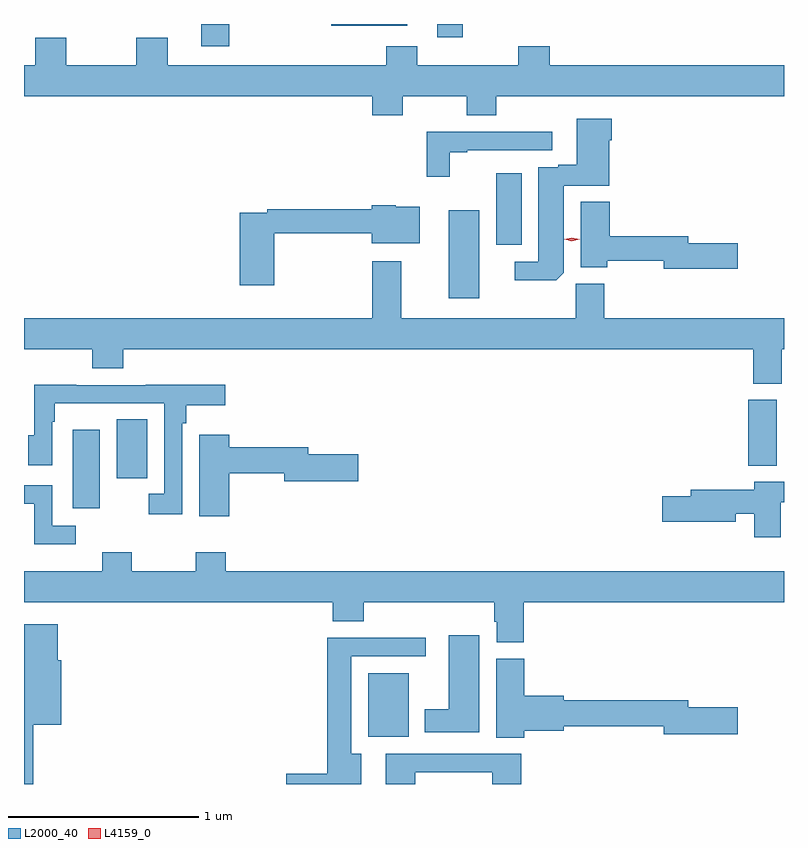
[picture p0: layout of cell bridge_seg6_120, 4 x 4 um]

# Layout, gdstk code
import gdstk
lib = gdstk.Library(unit=1e-6, precision=1e-09)
def R(c, l, rs):  # rectangles x0, y0, x1, y1
    for r in rs: c.add(gdstk.rectangle(r[:2], r[2:], *l))
def P(c, l, *ps):  # polygons
    for p in ps: c.add(gdstk.Polygon(p, *l))
L2000_40 = (2000, 40)
L4159_0 = (4159, 0)

bridge_seg6_120 = lib.new_cell('bridge_seg6_120')
R(bridge_seg6_120, L2000_40, [(395.78,942.632,395.992,942.967), (394.223,943.836,394.366,944.248), (394.454,943.992,394.615,944.303), (397.778,944.059,397.93,944.406), (396.203,944.94,396.364,945.403), (396.452,945.222,396.586,945.598), (394.901,946.266,395.046,946.384), (396.143,946.314,396.277,946.384), (395.585,946.374,395.985,946.384)])
P(bridge_seg6_120, L2000_40, [(395.961,946.004),(396.298,946.004),(396.298,945.905),(396.453,945.905),(396.453,946.004),(397.967,946.004),(397.967,946.168),(396.734,946.168),(396.734,946.267),(396.569,946.267),(396.569,946.168),(396.038,946.168),(396.038,946.267),(395.873,946.267),(395.873,946.168),(394.723,946.168),(394.723,946.312),(394.559,946.312),(394.559,946.168),(394.189,946.168),(394.189,946.312),(394.025,946.312),(394.025,946.168),(393.967,946.168),(393.967,946.004),(395.801,946.004),(395.801,945.905),(395.961,945.905)],
  [(396.808,945.076),(396.808,945.534),(397.048,945.534),(397.048,945.773),(397.061,945.773),(397.061,945.886),(396.875,945.886),(396.875,945.643),(396.779,945.643),(396.779,945.63),(396.674,945.63),(396.674,945.132),(396.549,945.132),(396.549,945.035),(396.767,945.035)],
  [(396.207,945.708),(396.301,945.708),(396.301,945.72),(396.748,945.72),(396.748,945.816),(396.088,945.816),(396.088,945.579),(396.207,945.579)],
  [(397.723,945.23),(397.462,945.23),(397.462,945.266),(397.049,945.266),(397.049,945.449),(396.896,945.449),(396.896,945.103),(397.036,945.103),(397.036,945.138),(397.334,945.138),(397.334,945.095),(397.723,945.095)],
  [(395.285,945.282),(395.798,945.282),(395.798,945.23),(396.049,945.23),(396.049,945.421),(395.924,945.421),(395.924,945.429),(395.798,945.429),(395.798,945.41),(395.248,945.41),(395.248,945.39),(395.102,945.39),(395.102,945.009),(395.285,945.009)],
  [(397.955,944.672),(397.967,944.672),(397.967,944.836),(397.022,944.836),(397.022,945.018),(396.871,945.018),(396.871,944.836),(395.953,944.836),(395.953,945.136),(395.801,945.136),(395.801,944.836),(393.967,944.836),(393.967,944.672),(394.325,944.672),(394.325,944.573),(394.49,944.573),(394.49,944.672),(397.805,944.672),(397.805,944.491),(397.955,944.491)],
  [(394.8,944.282),(394.82,944.282),(394.82,944.378),(395.026,944.378),(395.026,944.486),(394.607,944.486),(394.607,944.484),(394.241,944.484),(394.241,944.486),(394.02,944.486),(394.02,944.22),(393.989,944.22),(393.989,944.061),(394.116,944.061),(394.116,944.291),(394.129,944.291),(394.129,944.387),(394.341,944.387),(394.341,944.388),(394.704,944.388),(394.704,943.911),(394.623,943.911),(394.623,943.803),(394.8,943.803)],
  [(395.048,944.02),(395.336,944.02),(395.336,943.978),(395.725,943.978),(395.725,944.12),(395.464,944.12),(395.464,944.156),(395.048,944.156),(395.048,944.221),(394.889,944.221),(394.889,943.794),(395.048,943.794)],
  [(397.951,943.866),(397.967,943.866),(397.967,943.974),(397.811,943.974),(397.811,943.934),(397.475,943.934),(397.475,943.898),(397.326,943.898),(397.326,943.763),(397.714,943.763),(397.714,943.806),(397.811,943.806),(397.811,943.683),(397.951,943.683)],
  [(394.24,943.743),(394.116,943.743),(394.116,943.956),(393.967,943.956),(393.967,943.86),(394.02,943.86),(394.02,943.646),(394.24,943.646)],
  [(394.378,943.603),(394.378,943.504),(393.967,943.504),(393.967,943.34),(395.591,943.34),(395.591,943.241),(395.756,943.241),(395.756,943.34),(396.443,943.34),(396.443,943.239),(396.455,943.239),(396.455,943.129),(396.596,943.129),(396.596,943.34),(397.967,943.34),(397.967,943.504),(395.03,943.504),(395.03,943.603),(394.87,943.603),(394.87,943.504),(394.533,943.504),(394.533,943.603)],
  [(394.015,942.695),(394.162,942.695),(394.162,943.035),(394.144,943.035),(394.144,943.225),(393.967,943.225),(393.967,942.384),(394.015,942.384)],
  [(396.364,943.168),(396.203,943.168),(396.203,942.778),(396.077,942.778),(396.077,942.656),(396.364,942.656)],
  [(395.743,942.544),(395.689,942.544),(395.689,943.056),(396.082,943.056),(396.082,943.154),(395.564,943.154),(395.564,942.437),(395.346,942.437),(395.346,942.384),(395.743,942.384)],
  [(396.599,942.665),(396.808,942.665),(396.808,942.688),(397.334,942.688),(397.334,942.646),(397.723,942.646),(397.723,942.788),(397.462,942.788),(397.462,942.824),(396.808,942.824),(396.808,942.848),(396.599,942.848),(396.599,943.044),(396.452,943.044),(396.452,942.628),(396.599,942.628)],
  [(396.027,942.447),(396.431,942.447),(396.431,942.384),(396.584,942.384),(396.584,942.543),(395.871,942.543),(395.871,942.384),(396.027,942.384)])
P(bridge_seg6_120, L4159_0, [(396.851,945.24),(396.81,945.25),(396.81,945.25),(396.81,945.25),(396.851,945.26),(396.892,945.25),(396.892,945.25),(396.892,945.25)])

lib.write_gds('bridge_seg6_120.gds')
